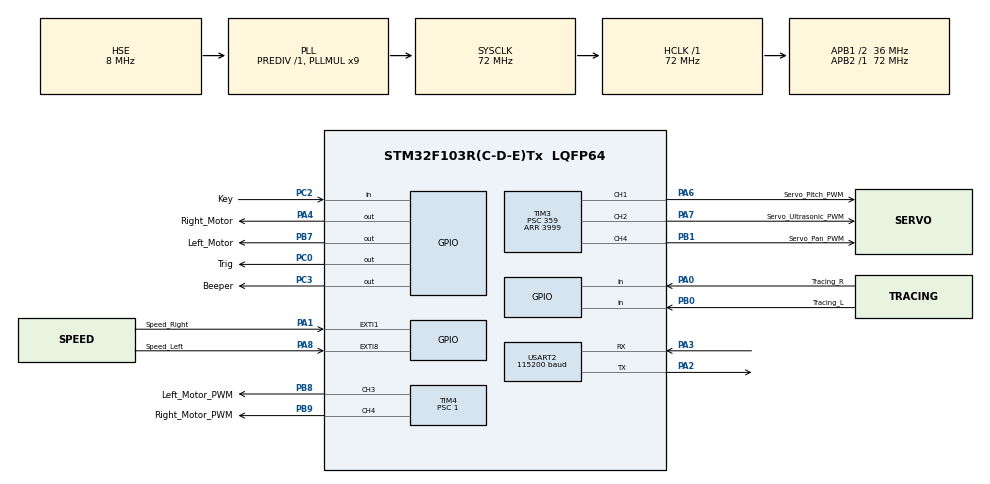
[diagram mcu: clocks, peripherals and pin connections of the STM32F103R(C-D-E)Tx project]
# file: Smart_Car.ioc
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Dma.Request0=USART2_TX
Dma.USART2_TX.0.Direction=DMA_MEMORY_TO_PERIPH
Dma.USART2_TX.0.Instance=DMA1_Channel7
Dma.USART2_TX.0.MemDataAlignment=DMA_MDATAALIGN_BYTE
Dma.USART2_TX.0.MemInc=DMA_MINC_ENABLE
Dma.USART2_TX.0.Mode=DMA_NORMAL
Dma.USART2_TX.0.PeriphDataAlignment=DMA_PDATAALIGN_BYTE
Dma.USART2_TX.0.PeriphInc=DMA_PINC_DISABLE
Dma.USART2_TX.0.Priority=DMA_PRIORITY_MEDIUM
Mcu.Family=STM32F1
Mcu.Name=STM32F103R(C-D-E)Tx
Mcu.Package=LQFP64
NVIC.DMA1_Channel7_IRQn=true\:0\:0\:false\:false\:true\:false\:true
NVIC.EXTI1_IRQn=true\:1\:2\:true\:false\:true\:true\:true
NVIC.EXTI9_5_IRQn=true\:1\:2\:true\:false\:true\:true\:true
NVIC.PriorityGroup=NVIC_PRIORITYGROUP_2
NVIC.TIM8_UP_IRQn=true\:1\:1\:true\:false\:true\:true\:true
NVIC.USART2_IRQn=true\:2\:3\:true\:false\:true\:true\:true
PA0-WKUP.GPIO_Label=Tracing_R
PA0-WKUP.GPIO_PuPd=GPIO_PULLUP
PA0-WKUP.Signal=GPIO_Input
PA1.GPIO_Label=Speed_Right
PA1.GPIO_PuPd=GPIO_PULLUP
PA1.Signal=GPXTI1
PA13.Mode=Serial_Wire
PA13.Signal=SYS_JTMS-SWDIO
PA14.Mode=Serial_Wire
PA14.Signal=SYS_JTCK-SWCLK
PA2.Mode=Asynchronous
PA2.Signal=USART2_TX
PA3.GPIO_PuPd=GPIO_NOPULL
PA3.Mode=Asynchronous
PA3.Signal=USART2_RX
PA4.GPIO_Label=Right_Motor
PA4.Signal=GPIO_Output
PA6.GPIO_Label=Servo_Pitch_PWM
PA6.Signal=S_TIM3_CH1
PA7.GPIO_Label=Servo_Ultrasonic_PWM
PA7.Signal=S_TIM3_CH2
PA8.GPIO_Label=Speed_Left
PA8.GPIO_PuPd=GPIO_PULLUP
PA8.Signal=GPXTI8
PB0.GPIO_Label=Tracing_L
PB0.GPIO_PuPd=GPIO_PULLUP
PB0.Signal=GPIO_Input
PB1.GPIO_Label=Servo_Pan_PWM
PB1.Signal=S_TIM3_CH4
PB7.GPIO_Label=Left_Motor
PB7.Signal=GPIO_Output
PB8.GPIO_Label=Left_Motor_PWM
PB8.Signal=S_TIM4_CH3
PB9.GPIO_Label=Right_Motor_PWM
PB9.Signal=S_TIM4_CH4
PC0.GPIO_Label=Trig
PC0.Signal=GPIO_Output
PC2.GPIO_Label=Key
PC2.GPIO_PuPd=GPIO_PULLUP
PC2.Signal=GPIO_Input
PC3.GPIO_Label=Beeper
PC3.Signal=GPIO_Output
PD0-OSC_IN.Mode=HSE-External-Oscillator
PD0-OSC_IN.Signal=RCC_OSC_IN
PD1-OSC_OUT.Mode=HSE-External-Oscillator
PD1-OSC_OUT.Signal=RCC_OSC_OUT
ProjectManager.HeapSize=0x200
ProjectManager.StackSize=0x400
ProjectManager.TargetToolchain=MDK-ARM V5.27
RCC.AHBFreq_Value=72000000
RCC.APB1CLKDivider=RCC_HCLK_DIV2
RCC.APB1Freq_Value=36000000
RCC.APB1TimFreq_Value=72000000
RCC.APB2Freq_Value=72000000
RCC.APB2TimFreq_Value=72000000
RCC.HCLKFreq_Value=72000000
RCC.PLLMUL=RCC_PLL_MUL9
RCC.PLLSourceVirtual=RCC_PLLSOURCE_HSE
RCC.SYSCLKFreq_VALUE=72000000
RCC.SYSCLKSource=RCC_SYSCLKSOURCE_PLLCLK
RCC.USBFreq_Value=72000000
SH.S_TIM3_CH1.0=TIM3_CH1,PWM Generation1 CH1
SH.S_TIM3_CH2.0=TIM3_CH2,PWM Generation2 CH2
SH.S_TIM3_CH4.0=TIM3_CH4,PWM Generation4 CH4
SH.S_TIM4_CH3.0=TIM4_CH3,PWM Generation3 CH3
SH.S_TIM4_CH4.0=TIM4_CH4,PWM Generation4 CH4
TIM1.Period=65535
TIM1.Prescaler=359
TIM2.Period=65535
TIM2.Prescaler=71
TIM3.Channel-PWM\ Generation1\ CH1=TIM_CHANNEL_1
TIM3.Channel-PWM\ Generation2\ CH2=TIM_CHANNEL_2
TIM3.Channel-PWM\ Generation4\ CH4=TIM_CHANNEL_4
TIM3.Period=3999
TIM3.Prescaler=359
TIM4.AutoReloadPreload=TIM_AUTORELOAD_PRELOAD_ENABLE
TIM4.Channel-PWM\ Generation3\ CH3=TIM_CHANNEL_3
TIM4.Channel-PWM\ Generation4\ CH4=TIM_CHANNEL_4
TIM4.OCMode_PWM-PWM\ Generation3\ CH3=TIM_OCMODE_PWM2
TIM4.OCMode_PWM-PWM\ Generation4\ CH4=TIM_OCMODE_PWM2
TIM4.Period=3599
TIM4.Prescaler=1
TIM8.AutoReloadPreload=TIM_AUTORELOAD_PRELOAD_ENABLE
TIM8.Period=9999
TIM8.Prescaler=7199
USART2.BaudRate=115200
USART2.VirtualMode=VM_ASYNC
VP_TIM1_VS_ClockSourceINT.Mode=Internal
VP_TIM2_VS_ClockSourceINT.Mode=Internal
VP_TIM8_VS_ClockSourceINT.Mode=Internal
board=custom

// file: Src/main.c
/* USER CODE BEGIN Header */
/**
  ******************************************************************************
  * @file           : main.c
  * @brief          : Main program body
  ******************************************************************************
  * @attention
  *
  * <h2><center>&copy; Copyright (c) 2023 STMicroelectronics.
  * All rights reserved.</center></h2>
  *
  * This software component is licensed by ST under BSD 3-Clause license,
  * the "License"; You may not use this file except in compliance with the
  * License. You may obtain a copy of the License at:
  *                        opensource.org/licenses/BSD-3-Clause
  *
  ******************************************************************************
  */
/* USER CODE END Header */

#include "main.h"
#include "dma.h"
#include "tim.h"
#include "usart.h"
#include "gpio.h"

/* USER CODE BEGIN Includes */
#include "motor.h"
#include "key.h"
#include "beeper.h"
#include "IR_Tracing.h"
#include "servo.h"
#include "UltrasonicWave.h"
#include "stdio.h"
#include "WIFI_Command.h"

/* USER CODE END Includes */

/* USER CODE BEGIN PV */
extern float UltrasonicWave_Distance;
extern int pan_angle;
extern int pitch_angle;
extern uint8_t USART2_RX_BUFF; 																	//接收缓存
extern uint8_t USART2_RX[USART2_MAX_RECV_LEN];									//接收储存
extern uint16_t USART2_RX_STA;																//接收数据计数
/* USER CODE END PV */

void SystemClock_Config(void);

/* USER CODE BEGIN 0 */
//int time[100];
/* USER CODE END 0 */

int main(void)
{

  /* MCU Configuration--------------------------------------------------------*/

  /* Reset of all peripherals, Initializes the Flash interface and the Systick. */
  HAL_Init();

  /* Configure the system clock */
  SystemClock_Config();

  /* Initialize all configured peripherals */
  MX_GPIO_Init();
  MX_DMA_Init();
  MX_TIM4_Init();
  MX_TIM3_Init();
  MX_USART2_UART_Init();
  MX_TIM2_Init();
  MX_TIM1_Init();
  MX_TIM8_Init();
  /* USER CODE BEGIN 2 */
	//开启中断
	HAL_UART_Receive_IT(&huart2,(uint8_t *)&USART2_RX_BUFF, 1);//开启接收中断
	//HAL_TIM_Base_Start_IT(&htim8);//开启测速中断

  /* USER CODE END 2 */

  /* Infinite loop */
  /* USER CODE BEGIN WHILE */
	brake(50);
	Motor_PWM_Start();
	keyscan();
	Servo_PWM_Start();
	//SetJointAngle(Servo_Ultrasonic,93);
	SetJointAngle(Servo_Pan,pan_angle);
	SetJointAngle(Servo_Pitch,pitch_angle);
	printf("Hello\n");
	__HAL_TIM_SET_COUNTER(&htim1,0);
	HAL_TIM_Base_Start(&htim1);//开启时钟
  while (1)
  {
    /* USER CODE END WHILE */

    /* USER CODE BEGIN 3 */
		keyscan();
		//printf("%f\n",UltrasonicWave_Distance);
		HAL_Delay(500);

		command_run(COMM_FORWARD,100);
		command_run(COMM_BRAKE,100);
		command_run(COMM_FORWARD,100);
		command_run(COMM_BRAKE,100);
		//HAL_TIM_Base_Stop(&htim1);//关闭时钟;
		//command_run(COMM_BRAKE,100);
//		for(i=0;i<100;i++)
//		{
//					printf("%d\n",time[i]);
//		}

	}
  /* USER CODE END 3 */
}

void SystemClock_Config(void)
{
  RCC_OscInitTypeDef RCC_OscInitStruct = {0};
  RCC_ClkInitTypeDef RCC_ClkInitStruct = {0};

  /** Initializes the CPU, AHB and APB busses clocks
  */
  RCC_OscInitStruct.OscillatorType = RCC_OSCILLATORTYPE_HSE;
  RCC_OscInitStruct.HSEState = RCC_HSE_ON;
  RCC_OscInitStruct.HSEPredivValue = RCC_HSE_PREDIV_DIV1;
  RCC_OscInitStruct.HSIState = RCC_HSI_ON;
  RCC_OscInitStruct.PLL.PLLState = RCC_PLL_ON;
  RCC_OscInitStruct.PLL.PLLSource = RCC_PLLSOURCE_HSE;
  RCC_OscInitStruct.PLL.PLLMUL = RCC_PLL_MUL9;
  if (HAL_RCC_OscConfig(&RCC_OscInitStruct) != HAL_OK)
  {
    Error_Handler();
  }
  /** Initializes the CPU, AHB and APB busses clocks
  */
  RCC_ClkInitStruct.ClockType = RCC_CLOCKTYPE_HCLK|RCC_CLOCKTYPE_SYSCLK
                              |RCC_CLOCKTYPE_PCLK1|RCC_CLOCKTYPE_PCLK2;
  RCC_ClkInitStruct.SYSCLKSource = RCC_SYSCLKSOURCE_PLLCLK;
  RCC_ClkInitStruct.AHBCLKDivider = RCC_SYSCLK_DIV1;
  RCC_ClkInitStruct.APB1CLKDivider = RCC_HCLK_DIV2;
  RCC_ClkInitStruct.APB2CLKDivider = RCC_HCLK_DIV1;

  if (HAL_RCC_ClockConfig(&RCC_ClkInitStruct, FLASH_LATENCY_2) != HAL_OK)
  {
    Error_Handler();
  }
}

/* USER CODE BEGIN 4 */

//GPIO中断服务程序，用于处理超声波避障
void HAL_GPIO_EXTI_Callback(uint16_t GPIO_Pin)
{
  if(GPIO_Pin==Speed_Right_Pin)
	{
      printf("%d\n", __HAL_TIM_GET_COUNTER(&htim1));
			//每一次计数为5us
	}
}

//串口2中断服务程序，用于处理串口2接收
void HAL_UART_RxCpltCallback(UART_HandleTypeDef *huart)
{
	if(huart==&huart2)//接收到数据
	{
		USART2_RX[USART2_RX_STA++]=USART2_RX_BUFF;		//记录接收到的值
//		if(USART2_RX[USART2_RX_STA-1]== 0x0A)		//接收完毕
//		{
//			USART2_RX_STA=0;
//		}
		//printf("%s!\n",USART2_RX);
		HAL_UART_Receive_IT(&huart2, (uint8_t *)&USART2_RX_BUFF, 1);   //再开启接收中断
	}
}

void Error_Handler_Distance(void)
{
	while(1)
	{
		BEEPER_SET;
		brake(500);
		BEEPER_RESET;
		brake(500);
	}
}
/* USER CODE END 4 */

void Error_Handler(void)
{
  /* USER CODE BEGIN Error_Handler_Debug */
  /* User can add his own implementation to report the HAL error return state */
	int i=0;
	while(i<10)
	{
		BEEPER_SET;
		brake(50);
		BEEPER_RESET;
		brake(50);
		i++;
	}

  /* USER CODE END Error_Handler_Debug */
}

/************************ (C) COPYRIGHT STMicroelectronics *****END OF FILE****/
